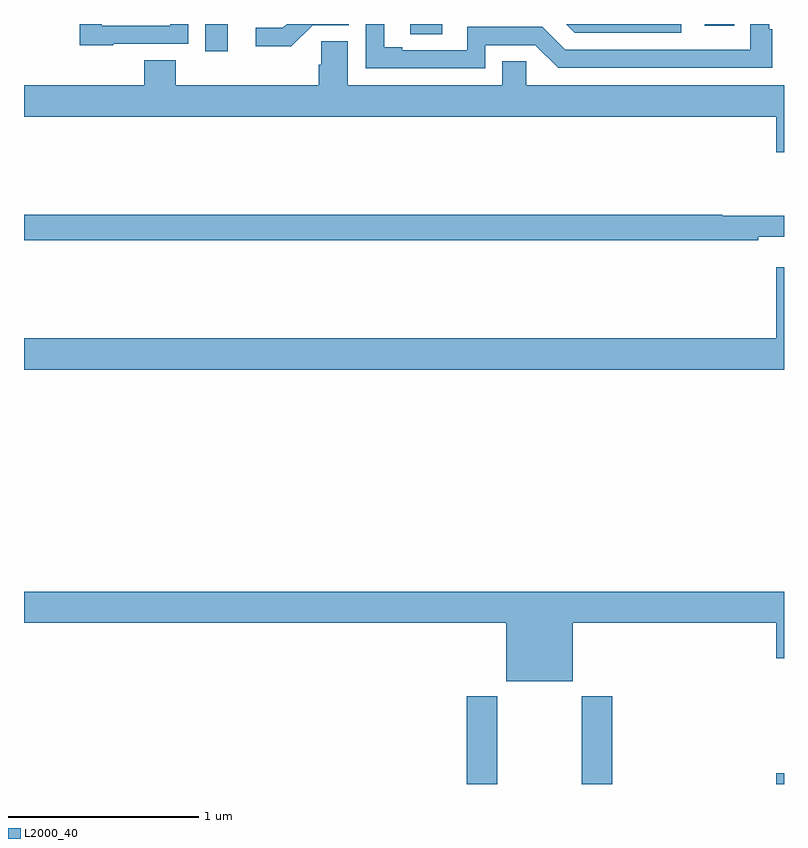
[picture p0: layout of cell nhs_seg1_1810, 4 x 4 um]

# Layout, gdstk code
import gdstk
lib = gdstk.Library(unit=1e-6, precision=1e-09)
def R(c, l, rs):  # rectangles x0, y0, x1, y1
    for r in rs: c.add(gdstk.rectangle(r[:2], r[2:], *l))
def P(c, l, *ps):  # polygons
    for p in ps: c.add(gdstk.Polygon(p, *l))
L2000_40 = (2000, 40)

nhs_seg1_1810 = lib.new_cell('nhs_seg1_1810')
R(nhs_seg1_1810, L2000_40, [(211.331,568.199,211.491,568.66), (211.936,568.199,212.096,568.66), (212.96,568.199,213,568.255), (209.955,572.055,210.073,572.199), (211.032,572.146,211.202,572.199), (212.583,572.19,212.738,572.199)])
P(nhs_seg1_1810, L2000_40, [(212.46,572.199),(211.854,572.199),(211.899,572.154),(212.46,572.154)],
  [(209.469,572.094),(209.865,572.094),(209.865,572.199),(209.769,572.199),(209.769,572.19),(209.409,572.19),(209.409,572.199),(209.293,572.199),(209.293,572.087),(209.469,572.087)],
  [(210.519,572.193),(210.708,572.193),(210.708,572.199),(210.384,572.199),(210.363,572.178),(210.219,572.178),(210.219,572.081),(210.406,572.081)],
  [(211.428,572.088),(211.692,572.088),(211.812,571.968),(212.939,571.968),(212.939,572.171),(212.922,572.171),(212.922,572.199),(212.823,572.199),(212.823,572.064),(211.848,572.064),(211.728,572.184),(211.332,572.184),(211.332,572.061),(210.991,572.061),(210.991,572.076),(210.895,572.076),(210.895,572.199),(210.798,572.199),(210.798,571.965),(211.428,571.965)],
  [(209.633,572.009),(209.633,571.876),(209,571.876),(209,571.712),(212.96,571.712),(212.96,571.524),(213,571.524),(213,571.876),(211.644,571.876),(211.644,572.003),(211.517,572.003),(211.517,571.876),(210.703,571.876),(210.703,572.108),(210.564,572.108),(210.564,571.985),(210.551,571.985),(210.551,571.876),(209.798,571.876),(209.798,572.009)],
  [(212.864,571.079),(213,571.079),(213,571.189),(212.674,571.189),(212.674,571.196),(209,571.196),(209,571.06),(212.864,571.06)],
  [(213,570.919),(212.96,570.919),(212.96,570.544),(209,570.544),(209,570.38),(213,570.38)],
  [(211.888,569.048),(212.96,569.048),(212.96,568.86),(213,568.86),(213,569.212),(209,569.212),(209,569.048),(211.538,569.048),(211.538,568.739),(211.888,568.739)])

lib.write_gds('nhs_seg1_1810.gds')
